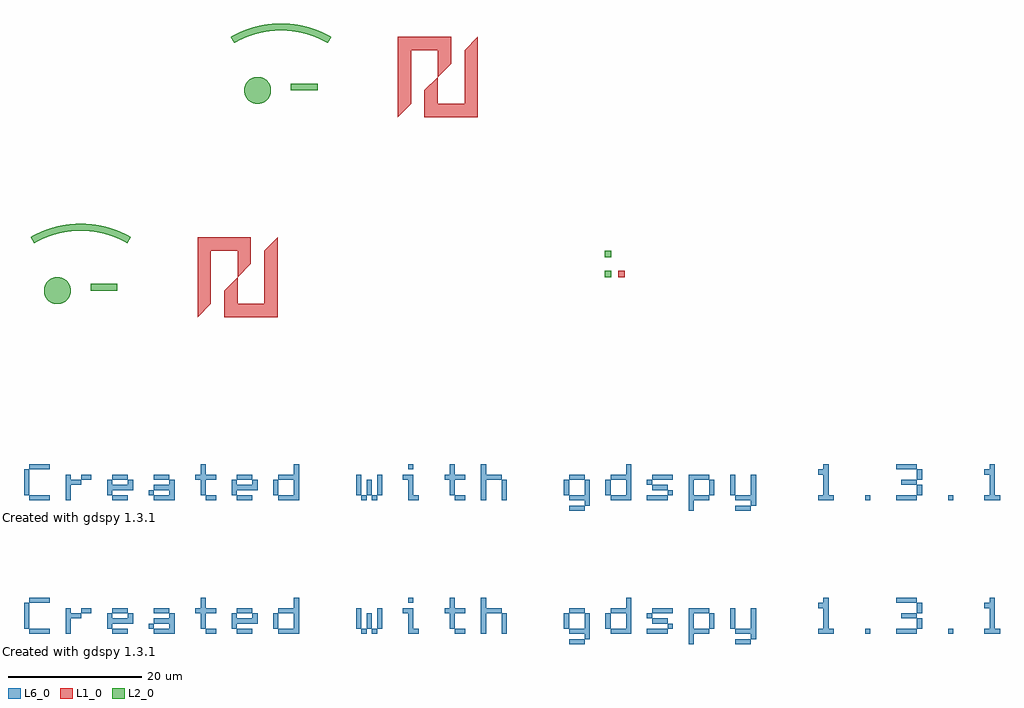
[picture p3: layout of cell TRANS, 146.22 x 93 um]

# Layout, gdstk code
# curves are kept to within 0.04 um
from math import pi, radians
import gdstk
lib = gdstk.Library(unit=1e-6, precision=1e-09)
def R(c, l, rs):  # rectangles x0, y0, x1, y1
    for r in rs: c.add(gdstk.rectangle(r[:2], r[2:], *l))
def P(c, l, *ps):  # polygons
    for p in ps: c.add(gdstk.Polygon(p, *l))
L1_0 = (1, 0)
L2_0 = (2, 0)
L6_0 = (6, 0)

polygons = lib.new_cell('POLYGONS')
P(polygons, L1_0, [(0,0),(2,2),(2,6),(-6,6),(-6,-6),(-4,-4),(-4,4),(0,4)],
  [(0,0),(-2,-2),(-2,-6),(6,-6),(6,6),(4,4),(4,-4),(0,-4)])
R(polygons, L2_0, [(18,1,22,2)])
P(polygons, L2_0, [(27,2),(29,2),(28.953,2.433),(28.813,2.845),(28.575,3.233),(28.271,3.545)],
  [(27,2),(28.247,3.564),(28.15,3.637),(27.778,3.843),(27.39,3.962),(26.957,4),(26.555,3.95)],
  [(27,2),(26.555,3.95),(26.089,3.781),(25.656,3.482),(25.198,2.868)],
  [(27,2),(25.198,2.868),(25.172,2.813),(25.048,2.438),(25,1.965),(25.048,1.562),(25.198,1.132)],
  [(27,2),(25.198,1.132),(25.656,0.518),(26.089,0.219),(26.555,0.05)],
  [(27,2),(26.555,0.05),(26.957,0),(27.39,0.038),(27.778,0.157),(28.15,0.363),(28.247,0.436)],
  [(27,2),(28.271,0.455),(28.575,0.767),(28.813,1.155),(28.953,1.567),(29,2)],
  [(16,-5.99),(16.866,-6.453),(17.308,-5.556),(16.5,-5.124)],
  [(16.866,-6.453),(17.76,-6.858),(18.142,-5.934),(17.308,-5.556)],
  [(17.76,-6.858),(18.678,-7.204),(19,-6.257),(18.142,-5.934)],
  [(18.678,-7.204),(19.618,-7.489),(19.877,-6.523),(19,-6.257)],
  [(19.618,-7.489),(20.574,-7.712),(20.769,-6.731),(19.877,-6.523)],
  [(20.574,-7.712),(21.542,-7.872),(21.673,-6.88),(20.769,-6.731)],
  [(21.542,-7.872),(22.519,-7.968),(22.584,-6.97),(21.673,-6.88)],
  [(22.519,-7.968),(23.5,-8),(23.5,-7),(22.584,-6.97)],
  [(23.5,-8),(24.481,-7.968),(24.416,-6.97),(23.5,-7)],
  [(24.481,-7.968),(25.458,-7.872),(25.327,-6.88),(24.416,-6.97)],
  [(25.458,-7.872),(26.426,-7.712),(26.231,-6.731),(25.327,-6.88)],
  [(26.426,-7.712),(27.382,-7.489),(27.123,-6.523),(26.231,-6.731)],
  [(27.382,-7.489),(28.322,-7.204),(28,-6.257),(27.123,-6.523)],
  [(28.322,-7.204),(29.24,-6.858),(28.858,-5.934),(28,-6.257)],
  [(29.24,-6.858),(30.134,-6.453),(29.692,-5.556),(28.858,-5.934)],
  [(30.134,-6.453),(31,-5.99),(30.5,-5.124),(29.692,-5.556)])

trans = lib.new_cell('TRANS')
R(trans, L1_0, [(82,0,83,1)])
R(trans, L2_0, [(80,0,81,1), (80,3,81,4)])
R(trans, L6_0, [(43.556,-53.444,44.333,-52.667), (45.111,-53.444,45.889,-52.667), (119,-53.444,119.778,-52.667), (131.444,-53.444,132.222,-52.667), (11.667,-52.667,12.444,-51.889), (89.444,-52.667,90.222,-51.889), (86.333,-51.111,87.111,-50.333), (50.556,-48.778,51.333,-48), (43.556,-33.444,44.333,-32.667), (45.111,-33.444,45.889,-32.667), (119,-33.444,119.778,-32.667), (131.444,-33.444,132.222,-32.667), (11.667,-32.667,12.444,-31.889), (89.444,-32.667,90.222,-31.889), (86.333,-31.111,87.111,-30.333), (50.556,-28.778,51.333,-28)])
P(trans, L6_0, [(-7,-32.667),(-6.222,-32.667),(-6.222,-31.889),(-6.222,-31.111),(-6.222,-30.333),(-6.222,-29.556),(-6.222,-28.778),(-7,-28.778),(-7,-29.556),(-7,-30.333),(-7,-31.111),(-7,-31.889)],
  [(-6.222,-33.444),(-5.444,-33.444),(-4.667,-33.444),(-3.889,-33.444),(-3.111,-33.444),(-3.111,-32.667),(-3.889,-32.667),(-4.667,-32.667),(-5.444,-32.667),(-6.222,-32.667)],
  [(-6.222,-28.778),(-5.444,-28.778),(-4.667,-28.778),(-3.889,-28.778),(-3.111,-28.778),(-3.111,-28),(-3.889,-28),(-4.667,-28),(-5.444,-28),(-6.222,-28)],
  [(-0.778,-33.444),(0,-33.444),(0,-32.667),(0,-31.889),(0,-31.111),(0.778,-31.111),(1.556,-31.111),(1.556,-30.333),(0.778,-30.333),(0,-30.333),(0,-29.556),(-0.778,-29.556),(-0.778,-30.333),(-0.778,-31.111),(-0.778,-31.889),(-0.778,-32.667)],
  [(1.556,-30.333),(2.333,-30.333),(3.111,-30.333),(3.111,-29.556),(2.333,-29.556),(1.556,-29.556)],
  [(5.444,-32.667),(6.222,-32.667),(6.222,-31.889),(7,-31.889),(7.778,-31.889),(8.556,-31.889),(9.333,-31.889),(9.333,-31.111),(9.333,-30.333),(8.556,-30.333),(8.556,-31.111),(7.778,-31.111),(7,-31.111),(6.222,-31.111),(6.222,-30.333),(5.444,-30.333),(5.444,-31.111),(5.444,-31.889)],
  [(6.222,-33.444),(7,-33.444),(7.778,-33.444),(8.556,-33.444),(8.556,-32.667),(7.778,-32.667),(7,-32.667),(6.222,-32.667)],
  [(6.222,-30.333),(7,-30.333),(7.778,-30.333),(8.556,-30.333),(8.556,-29.556),(7.778,-29.556),(7,-29.556),(6.222,-29.556)],
  [(12.444,-33.444),(13.222,-33.444),(14,-33.444),(14.778,-33.444),(15.556,-33.444),(15.556,-32.667),(15.556,-31.889),(15.556,-31.111),(15.556,-30.333),(14.778,-30.333),(14.778,-31.111),(14,-31.111),(13.222,-31.111),(12.444,-31.111),(12.444,-31.889),(13.222,-31.889),(14,-31.889),(14.778,-31.889),(14.778,-32.667),(14,-32.667),(13.222,-32.667),(12.444,-32.667)],
  [(12.444,-30.333),(13.222,-30.333),(14,-30.333),(14.778,-30.333),(14.778,-29.556),(14,-29.556),(13.222,-29.556),(12.444,-29.556)],
  [(18.667,-30.333),(19.444,-30.333),(19.444,-31.111),(19.444,-31.889),(19.444,-32.667),(20.222,-32.667),(20.222,-31.889),(20.222,-31.111),(20.222,-30.333),(21,-30.333),(21.778,-30.333),(21.778,-29.556),(21,-29.556),(20.222,-29.556),(20.222,-28.778),(20.222,-28),(19.444,-28),(19.444,-28.778),(19.444,-29.556),(18.667,-29.556)],
  [(20.222,-33.444),(21,-33.444),(21.778,-33.444),(21.778,-32.667),(21,-32.667),(20.222,-32.667)],
  [(24.111,-32.667),(24.889,-32.667),(24.889,-31.889),(25.667,-31.889),(26.444,-31.889),(27.222,-31.889),(28,-31.889),(28,-31.111),(28,-30.333),(27.222,-30.333),(27.222,-31.111),(26.444,-31.111),(25.667,-31.111),(24.889,-31.111),(24.889,-30.333),(24.111,-30.333),(24.111,-31.111),(24.111,-31.889)],
  [(24.889,-33.444),(25.667,-33.444),(26.444,-33.444),(27.222,-33.444),(27.222,-32.667),(26.444,-32.667),(25.667,-32.667),(24.889,-32.667)],
  [(24.889,-30.333),(25.667,-30.333),(26.444,-30.333),(27.222,-30.333),(27.222,-29.556),(26.444,-29.556),(25.667,-29.556),(24.889,-29.556)],
  [(30.333,-32.667),(31.111,-32.667),(31.111,-31.889),(31.111,-31.111),(31.111,-30.333),(30.333,-30.333),(30.333,-31.111),(30.333,-31.889)],
  [(31.111,-33.444),(31.889,-33.444),(32.667,-33.444),(33.444,-33.444),(34.222,-33.444),(34.222,-32.667),(34.222,-31.889),(34.222,-31.111),(34.222,-30.333),(34.222,-29.556),(34.222,-28.778),(34.222,-28),(33.444,-28),(33.444,-28.778),(33.444,-29.556),(32.667,-29.556),(31.889,-29.556),(31.111,-29.556),(31.111,-30.333),(31.889,-30.333),(32.667,-30.333),(33.444,-30.333),(33.444,-31.111),(33.444,-31.889),(33.444,-32.667),(32.667,-32.667),(31.889,-32.667),(31.111,-32.667)],
  [(42.778,-32.667),(43.556,-32.667),(43.556,-31.889),(43.556,-31.111),(43.556,-30.333),(43.556,-29.556),(42.778,-29.556),(42.778,-30.333),(42.778,-31.111),(42.778,-31.889)],
  [(44.333,-32.667),(45.111,-32.667),(45.111,-31.889),(45.111,-31.111),(45.111,-30.333),(44.333,-30.333),(44.333,-31.111),(44.333,-31.889)],
  [(45.889,-32.667),(46.667,-32.667),(46.667,-31.889),(46.667,-31.111),(46.667,-30.333),(46.667,-29.556),(45.889,-29.556),(45.889,-30.333),(45.889,-31.111),(45.889,-31.889)],
  [(49.778,-30.333),(50.556,-30.333),(50.556,-31.111),(50.556,-31.889),(50.556,-32.667),(50.556,-33.444),(51.333,-33.444),(52.111,-33.444),(52.111,-32.667),(51.333,-32.667),(51.333,-31.889),(51.333,-31.111),(51.333,-30.333),(51.333,-29.556),(50.556,-29.556),(49.778,-29.556)],
  [(56,-30.333),(56.778,-30.333),(56.778,-31.111),(56.778,-31.889),(56.778,-32.667),(57.556,-32.667),(57.556,-31.889),(57.556,-31.111),(57.556,-30.333),(58.333,-30.333),(59.111,-30.333),(59.111,-29.556),(58.333,-29.556),(57.556,-29.556),(57.556,-28.778),(57.556,-28),(56.778,-28),(56.778,-28.778),(56.778,-29.556),(56,-29.556)],
  [(57.556,-33.444),(58.333,-33.444),(59.111,-33.444),(59.111,-32.667),(58.333,-32.667),(57.556,-32.667)],
  [(61.444,-33.444),(62.222,-33.444),(62.222,-32.667),(62.222,-31.889),(62.222,-31.111),(62.222,-30.333),(63,-30.333),(63.778,-30.333),(64.556,-30.333),(64.556,-29.556),(63.778,-29.556),(63,-29.556),(62.222,-29.556),(62.222,-28.778),(62.222,-28),(61.444,-28),(61.444,-28.778),(61.444,-29.556),(61.444,-30.333),(61.444,-31.111),(61.444,-31.889),(61.444,-32.667)],
  [(64.556,-33.444),(65.333,-33.444),(65.333,-32.667),(65.333,-31.889),(65.333,-31.111),(65.333,-30.333),(64.556,-30.333),(64.556,-31.111),(64.556,-31.889),(64.556,-32.667)],
  [(73.889,-32.667),(74.667,-32.667),(74.667,-31.889),(74.667,-31.111),(74.667,-30.333),(73.889,-30.333),(73.889,-31.111),(73.889,-31.889)],
  [(74.667,-35),(75.444,-35),(76.222,-35),(77,-35),(77,-34.222),(76.222,-34.222),(75.444,-34.222),(74.667,-34.222)],
  [(74.667,-33.444),(75.444,-33.444),(76.222,-33.444),(77,-33.444),(77,-34.222),(77.778,-34.222),(77.778,-33.444),(77.778,-32.667),(77.778,-31.889),(77.778,-31.111),(77.778,-30.333),(77,-30.333),(77,-31.111),(77,-31.889),(77,-32.667),(76.222,-32.667),(75.444,-32.667),(74.667,-32.667)],
  [(74.667,-30.333),(75.444,-30.333),(76.222,-30.333),(77,-30.333),(77,-29.556),(76.222,-29.556),(75.444,-29.556),(74.667,-29.556)],
  [(80.111,-32.667),(80.889,-32.667),(80.889,-31.889),(80.889,-31.111),(80.889,-30.333),(80.111,-30.333),(80.111,-31.111),(80.111,-31.889)],
  [(80.889,-33.444),(81.667,-33.444),(82.444,-33.444),(83.222,-33.444),(84,-33.444),(84,-32.667),(84,-31.889),(84,-31.111),(84,-30.333),(84,-29.556),(84,-28.778),(84,-28),(83.222,-28),(83.222,-28.778),(83.222,-29.556),(82.444,-29.556),(81.667,-29.556),(80.889,-29.556),(80.889,-30.333),(81.667,-30.333),(82.444,-30.333),(83.222,-30.333),(83.222,-31.111),(83.222,-31.889),(83.222,-32.667),(82.444,-32.667),(81.667,-32.667),(80.889,-32.667)],
  [(86.333,-33.444),(87.111,-33.444),(87.889,-33.444),(88.667,-33.444),(89.444,-33.444),(89.444,-32.667),(88.667,-32.667),(87.889,-32.667),(87.111,-32.667),(86.333,-32.667)],
  [(87.111,-31.889),(87.889,-31.889),(88.667,-31.889),(89.444,-31.889),(89.444,-31.111),(88.667,-31.111),(87.889,-31.111),(87.111,-31.111)],
  [(87.111,-30.333),(87.889,-30.333),(88.667,-30.333),(89.444,-30.333),(90.222,-30.333),(90.222,-29.556),(89.444,-29.556),(88.667,-29.556),(87.889,-29.556),(87.111,-29.556)],
  [(92.556,-35),(93.333,-35),(93.333,-34.222),(93.333,-33.444),(94.111,-33.444),(94.889,-33.444),(95.667,-33.444),(95.667,-32.667),(94.889,-32.667),(94.111,-32.667),(93.333,-32.667),(93.333,-31.889),(93.333,-31.111),(93.333,-30.333),(94.111,-30.333),(94.889,-30.333),(95.667,-30.333),(95.667,-29.556),(94.889,-29.556),(94.111,-29.556),(93.333,-29.556),(92.556,-29.556),(92.556,-30.333),(92.556,-31.111),(92.556,-31.889),(92.556,-32.667),(92.556,-33.444),(92.556,-34.222)],
  [(95.667,-32.667),(96.444,-32.667),(96.444,-31.889),(96.444,-31.111),(96.444,-30.333),(95.667,-30.333),(95.667,-31.111),(95.667,-31.889)],
  [(98.778,-32.667),(99.556,-32.667),(99.556,-31.889),(99.556,-31.111),(99.556,-30.333),(99.556,-29.556),(98.778,-29.556),(98.778,-30.333),(98.778,-31.111),(98.778,-31.889)],
  [(99.556,-35),(100.333,-35),(101.111,-35),(101.889,-35),(101.889,-34.222),(101.111,-34.222),(100.333,-34.222),(99.556,-34.222)],
  [(99.556,-33.444),(100.333,-33.444),(101.111,-33.444),(101.889,-33.444),(101.889,-34.222),(102.667,-34.222),(102.667,-33.444),(102.667,-32.667),(102.667,-31.889),(102.667,-31.111),(102.667,-30.333),(102.667,-29.556),(101.889,-29.556),(101.889,-30.333),(101.889,-31.111),(101.889,-31.889),(101.889,-32.667),(101.111,-32.667),(100.333,-32.667),(99.556,-32.667)],
  [(112,-33.444),(112.778,-33.444),(113.556,-33.444),(114.333,-33.444),(114.333,-32.667),(113.556,-32.667),(113.556,-31.889),(113.556,-31.111),(113.556,-30.333),(113.556,-29.556),(113.556,-28.778),(113.556,-28),(112.778,-28),(112.778,-28.778),(112,-28.778),(112,-29.556),(112.778,-29.556),(112.778,-30.333),(112.778,-31.111),(112.778,-31.889),(112.778,-32.667),(112,-32.667)],
  [(123.667,-33.444),(124.444,-33.444),(125.222,-33.444),(126,-33.444),(126.778,-33.444),(126.778,-32.667),(126,-32.667),(125.222,-32.667),(124.444,-32.667),(123.667,-32.667)],
  [(123.667,-28.778),(124.444,-28.778),(125.222,-28.778),(126,-28.778),(126.778,-28.778),(126.778,-28),(126,-28),(125.222,-28),(124.444,-28),(123.667,-28)],
  [(124.444,-31.111),(125.222,-31.111),(126,-31.111),(126.778,-31.111),(126.778,-30.333),(126,-30.333),(125.222,-30.333),(124.444,-30.333)],
  [(126.778,-32.667),(127.556,-32.667),(127.556,-31.889),(127.556,-31.111),(126.778,-31.111),(126.778,-31.889)],
  [(126.778,-30.333),(127.556,-30.333),(127.556,-29.556),(127.556,-28.778),(126.778,-28.778),(126.778,-29.556)],
  [(136.889,-33.444),(137.667,-33.444),(138.444,-33.444),(139.222,-33.444),(139.222,-32.667),(138.444,-32.667),(138.444,-31.889),(138.444,-31.111),(138.444,-30.333),(138.444,-29.556),(138.444,-28.778),(138.444,-28),(137.667,-28),(137.667,-28.778),(136.889,-28.778),(136.889,-29.556),(137.667,-29.556),(137.667,-30.333),(137.667,-31.111),(137.667,-31.889),(137.667,-32.667),(136.889,-32.667)],
  [(-7,-52.667),(-6.222,-52.667),(-6.222,-51.889),(-6.222,-51.111),(-6.222,-50.333),(-6.222,-49.556),(-6.222,-48.778),(-7,-48.778),(-7,-49.556),(-7,-50.333),(-7,-51.111),(-7,-51.889)],
  [(-6.222,-53.444),(-5.444,-53.444),(-4.667,-53.444),(-3.889,-53.444),(-3.111,-53.444),(-3.111,-52.667),(-3.889,-52.667),(-4.667,-52.667),(-5.444,-52.667),(-6.222,-52.667)],
  [(-6.222,-48.778),(-5.444,-48.778),(-4.667,-48.778),(-3.889,-48.778),(-3.111,-48.778),(-3.111,-48),(-3.889,-48),(-4.667,-48),(-5.444,-48),(-6.222,-48)],
  [(-0.778,-53.444),(0,-53.444),(0,-52.667),(0,-51.889),(0,-51.111),(0.778,-51.111),(1.556,-51.111),(1.556,-50.333),(0.778,-50.333),(0,-50.333),(0,-49.556),(-0.778,-49.556),(-0.778,-50.333),(-0.778,-51.111),(-0.778,-51.889),(-0.778,-52.667)],
  [(1.556,-50.333),(2.333,-50.333),(3.111,-50.333),(3.111,-49.556),(2.333,-49.556),(1.556,-49.556)],
  [(5.444,-52.667),(6.222,-52.667),(6.222,-51.889),(7,-51.889),(7.778,-51.889),(8.556,-51.889),(9.333,-51.889),(9.333,-51.111),(9.333,-50.333),(8.556,-50.333),(8.556,-51.111),(7.778,-51.111),(7,-51.111),(6.222,-51.111),(6.222,-50.333),(5.444,-50.333),(5.444,-51.111),(5.444,-51.889)],
  [(6.222,-53.444),(7,-53.444),(7.778,-53.444),(8.556,-53.444),(8.556,-52.667),(7.778,-52.667),(7,-52.667),(6.222,-52.667)],
  [(6.222,-50.333),(7,-50.333),(7.778,-50.333),(8.556,-50.333),(8.556,-49.556),(7.778,-49.556),(7,-49.556),(6.222,-49.556)],
  [(12.444,-53.444),(13.222,-53.444),(14,-53.444),(14.778,-53.444),(15.556,-53.444),(15.556,-52.667),(15.556,-51.889),(15.556,-51.111),(15.556,-50.333),(14.778,-50.333),(14.778,-51.111),(14,-51.111),(13.222,-51.111),(12.444,-51.111),(12.444,-51.889),(13.222,-51.889),(14,-51.889),(14.778,-51.889),(14.778,-52.667),(14,-52.667),(13.222,-52.667),(12.444,-52.667)],
  [(12.444,-50.333),(13.222,-50.333),(14,-50.333),(14.778,-50.333),(14.778,-49.556),(14,-49.556),(13.222,-49.556),(12.444,-49.556)],
  [(18.667,-50.333),(19.444,-50.333),(19.444,-51.111),(19.444,-51.889),(19.444,-52.667),(20.222,-52.667),(20.222,-51.889),(20.222,-51.111),(20.222,-50.333),(21,-50.333),(21.778,-50.333),(21.778,-49.556),(21,-49.556),(20.222,-49.556),(20.222,-48.778),(20.222,-48),(19.444,-48),(19.444,-48.778),(19.444,-49.556),(18.667,-49.556)],
  [(20.222,-53.444),(21,-53.444),(21.778,-53.444),(21.778,-52.667),(21,-52.667),(20.222,-52.667)],
  [(24.111,-52.667),(24.889,-52.667),(24.889,-51.889),(25.667,-51.889),(26.444,-51.889),(27.222,-51.889),(28,-51.889),(28,-51.111),(28,-50.333),(27.222,-50.333),(27.222,-51.111),(26.444,-51.111),(25.667,-51.111),(24.889,-51.111),(24.889,-50.333),(24.111,-50.333),(24.111,-51.111),(24.111,-51.889)],
  [(24.889,-53.444),(25.667,-53.444),(26.444,-53.444),(27.222,-53.444),(27.222,-52.667),(26.444,-52.667),(25.667,-52.667),(24.889,-52.667)],
  [(24.889,-50.333),(25.667,-50.333),(26.444,-50.333),(27.222,-50.333),(27.222,-49.556),(26.444,-49.556),(25.667,-49.556),(24.889,-49.556)],
  [(30.333,-52.667),(31.111,-52.667),(31.111,-51.889),(31.111,-51.111),(31.111,-50.333),(30.333,-50.333),(30.333,-51.111),(30.333,-51.889)],
  [(31.111,-53.444),(31.889,-53.444),(32.667,-53.444),(33.444,-53.444),(34.222,-53.444),(34.222,-52.667),(34.222,-51.889),(34.222,-51.111),(34.222,-50.333),(34.222,-49.556),(34.222,-48.778),(34.222,-48),(33.444,-48),(33.444,-48.778),(33.444,-49.556),(32.667,-49.556),(31.889,-49.556),(31.111,-49.556),(31.111,-50.333),(31.889,-50.333),(32.667,-50.333),(33.444,-50.333),(33.444,-51.111),(33.444,-51.889),(33.444,-52.667),(32.667,-52.667),(31.889,-52.667),(31.111,-52.667)],
  [(42.778,-52.667),(43.556,-52.667),(43.556,-51.889),(43.556,-51.111),(43.556,-50.333),(43.556,-49.556),(42.778,-49.556),(42.778,-50.333),(42.778,-51.111),(42.778,-51.889)],
  [(44.333,-52.667),(45.111,-52.667),(45.111,-51.889),(45.111,-51.111),(45.111,-50.333),(44.333,-50.333),(44.333,-51.111),(44.333,-51.889)],
  [(45.889,-52.667),(46.667,-52.667),(46.667,-51.889),(46.667,-51.111),(46.667,-50.333),(46.667,-49.556),(45.889,-49.556),(45.889,-50.333),(45.889,-51.111),(45.889,-51.889)],
  [(49.778,-50.333),(50.556,-50.333),(50.556,-51.111),(50.556,-51.889),(50.556,-52.667),(50.556,-53.444),(51.333,-53.444),(52.111,-53.444),(52.111,-52.667),(51.333,-52.667),(51.333,-51.889),(51.333,-51.111),(51.333,-50.333),(51.333,-49.556),(50.556,-49.556),(49.778,-49.556)],
  [(56,-50.333),(56.778,-50.333),(56.778,-51.111),(56.778,-51.889),(56.778,-52.667),(57.556,-52.667),(57.556,-51.889),(57.556,-51.111),(57.556,-50.333),(58.333,-50.333),(59.111,-50.333),(59.111,-49.556),(58.333,-49.556),(57.556,-49.556),(57.556,-48.778),(57.556,-48),(56.778,-48),(56.778,-48.778),(56.778,-49.556),(56,-49.556)],
  [(57.556,-53.444),(58.333,-53.444),(59.111,-53.444),(59.111,-52.667),(58.333,-52.667),(57.556,-52.667)],
  [(61.444,-53.444),(62.222,-53.444),(62.222,-52.667),(62.222,-51.889),(62.222,-51.111),(62.222,-50.333),(63,-50.333),(63.778,-50.333),(64.556,-50.333),(64.556,-49.556),(63.778,-49.556),(63,-49.556),(62.222,-49.556),(62.222,-48.778),(62.222,-48),(61.444,-48),(61.444,-48.778),(61.444,-49.556),(61.444,-50.333),(61.444,-51.111),(61.444,-51.889),(61.444,-52.667)],
  [(64.556,-53.444),(65.333,-53.444),(65.333,-52.667),(65.333,-51.889),(65.333,-51.111),(65.333,-50.333),(64.556,-50.333),(64.556,-51.111),(64.556,-51.889),(64.556,-52.667)],
  [(73.889,-52.667),(74.667,-52.667),(74.667,-51.889),(74.667,-51.111),(74.667,-50.333),(73.889,-50.333),(73.889,-51.111),(73.889,-51.889)],
  [(74.667,-55),(75.444,-55),(76.222,-55),(77,-55),(77,-54.222),(76.222,-54.222),(75.444,-54.222),(74.667,-54.222)],
  [(74.667,-53.444),(75.444,-53.444),(76.222,-53.444),(77,-53.444),(77,-54.222),(77.778,-54.222),(77.778,-53.444),(77.778,-52.667),(77.778,-51.889),(77.778,-51.111),(77.778,-50.333),(77,-50.333),(77,-51.111),(77,-51.889),(77,-52.667),(76.222,-52.667),(75.444,-52.667),(74.667,-52.667)],
  [(74.667,-50.333),(75.444,-50.333),(76.222,-50.333),(77,-50.333),(77,-49.556),(76.222,-49.556),(75.444,-49.556),(74.667,-49.556)],
  [(80.111,-52.667),(80.889,-52.667),(80.889,-51.889),(80.889,-51.111),(80.889,-50.333),(80.111,-50.333),(80.111,-51.111),(80.111,-51.889)],
  [(80.889,-53.444),(81.667,-53.444),(82.444,-53.444),(83.222,-53.444),(84,-53.444),(84,-52.667),(84,-51.889),(84,-51.111),(84,-50.333),(84,-49.556),(84,-48.778),(84,-48),(83.222,-48),(83.222,-48.778),(83.222,-49.556),(82.444,-49.556),(81.667,-49.556),(80.889,-49.556),(80.889,-50.333),(81.667,-50.333),(82.444,-50.333),(83.222,-50.333),(83.222,-51.111),(83.222,-51.889),(83.222,-52.667),(82.444,-52.667),(81.667,-52.667),(80.889,-52.667)],
  [(86.333,-53.444),(87.111,-53.444),(87.889,-53.444),(88.667,-53.444),(89.444,-53.444),(89.444,-52.667),(88.667,-52.667),(87.889,-52.667),(87.111,-52.667),(86.333,-52.667)],
  [(87.111,-51.889),(87.889,-51.889),(88.667,-51.889),(89.444,-51.889),(89.444,-51.111),(88.667,-51.111),(87.889,-51.111),(87.111,-51.111)],
  [(87.111,-50.333),(87.889,-50.333),(88.667,-50.333),(89.444,-50.333),(90.222,-50.333),(90.222,-49.556),(89.444,-49.556),(88.667,-49.556),(87.889,-49.556),(87.111,-49.556)],
  [(92.556,-55),(93.333,-55),(93.333,-54.222),(93.333,-53.444),(94.111,-53.444),(94.889,-53.444),(95.667,-53.444),(95.667,-52.667),(94.889,-52.667),(94.111,-52.667),(93.333,-52.667),(93.333,-51.889),(93.333,-51.111),(93.333,-50.333),(94.111,-50.333),(94.889,-50.333),(95.667,-50.333),(95.667,-49.556),(94.889,-49.556),(94.111,-49.556),(93.333,-49.556),(92.556,-49.556),(92.556,-50.333),(92.556,-51.111),(92.556,-51.889),(92.556,-52.667),(92.556,-53.444),(92.556,-54.222)],
  [(95.667,-52.667),(96.444,-52.667),(96.444,-51.889),(96.444,-51.111),(96.444,-50.333),(95.667,-50.333),(95.667,-51.111),(95.667,-51.889)],
  [(98.778,-52.667),(99.556,-52.667),(99.556,-51.889),(99.556,-51.111),(99.556,-50.333),(99.556,-49.556),(98.778,-49.556),(98.778,-50.333),(98.778,-51.111),(98.778,-51.889)],
  [(99.556,-55),(100.333,-55),(101.111,-55),(101.889,-55),(101.889,-54.222),(101.111,-54.222),(100.333,-54.222),(99.556,-54.222)],
  [(99.556,-53.444),(100.333,-53.444),(101.111,-53.444),(101.889,-53.444),(101.889,-54.222),(102.667,-54.222),(102.667,-53.444),(102.667,-52.667),(102.667,-51.889),(102.667,-51.111),(102.667,-50.333),(102.667,-49.556),(101.889,-49.556),(101.889,-50.333),(101.889,-51.111),(101.889,-51.889),(101.889,-52.667),(101.111,-52.667),(100.333,-52.667),(99.556,-52.667)],
  [(112,-53.444),(112.778,-53.444),(113.556,-53.444),(114.333,-53.444),(114.333,-52.667),(113.556,-52.667),(113.556,-51.889),(113.556,-51.111),(113.556,-50.333),(113.556,-49.556),(113.556,-48.778),(113.556,-48),(112.778,-48),(112.778,-48.778),(112,-48.778),(112,-49.556),(112.778,-49.556),(112.778,-50.333),(112.778,-51.111),(112.778,-51.889),(112.778,-52.667),(112,-52.667)],
  [(123.667,-53.444),(124.444,-53.444),(125.222,-53.444),(126,-53.444),(126.778,-53.444),(126.778,-52.667),(126,-52.667),(125.222,-52.667),(124.444,-52.667),(123.667,-52.667)],
  [(123.667,-48.778),(124.444,-48.778),(125.222,-48.778),(126,-48.778),(126.778,-48.778),(126.778,-48),(126,-48),(125.222,-48),(124.444,-48),(123.667,-48)],
  [(124.444,-51.111),(125.222,-51.111),(126,-51.111),(126.778,-51.111),(126.778,-50.333),(126,-50.333),(125.222,-50.333),(124.444,-50.333)],
  [(126.778,-52.667),(127.556,-52.667),(127.556,-51.889),(127.556,-51.111),(126.778,-51.111),(126.778,-51.889)],
  [(126.778,-50.333),(127.556,-50.333),(127.556,-49.556),(127.556,-48.778),(126.778,-48.778),(126.778,-49.556)],
  [(136.889,-53.444),(137.667,-53.444),(138.444,-53.444),(139.222,-53.444),(139.222,-52.667),(138.444,-52.667),(138.444,-51.889),(138.444,-51.111),(138.444,-50.333),(138.444,-49.556),(138.444,-48.778),(138.444,-48),(137.667,-48),(137.667,-48.778),(136.889,-48.778),(136.889,-49.556),(137.667,-49.556),(137.667,-50.333),(137.667,-51.111),(137.667,-51.889),(137.667,-52.667),(136.889,-52.667)])
trans.add(gdstk.Reference(polygons, (25,0), rotation=pi))
trans.add(gdstk.Reference(polygons, (55,30), rotation=pi))
trans.add(gdstk.Label('Created with gdspy 1.3.1', (-7,-36), layer=6, texttype=0))
trans.add(gdstk.Label('Created with gdspy 1.3.1', (-7,-56), layer=6, texttype=0))

lib.write_gds('TRANS.gds')
